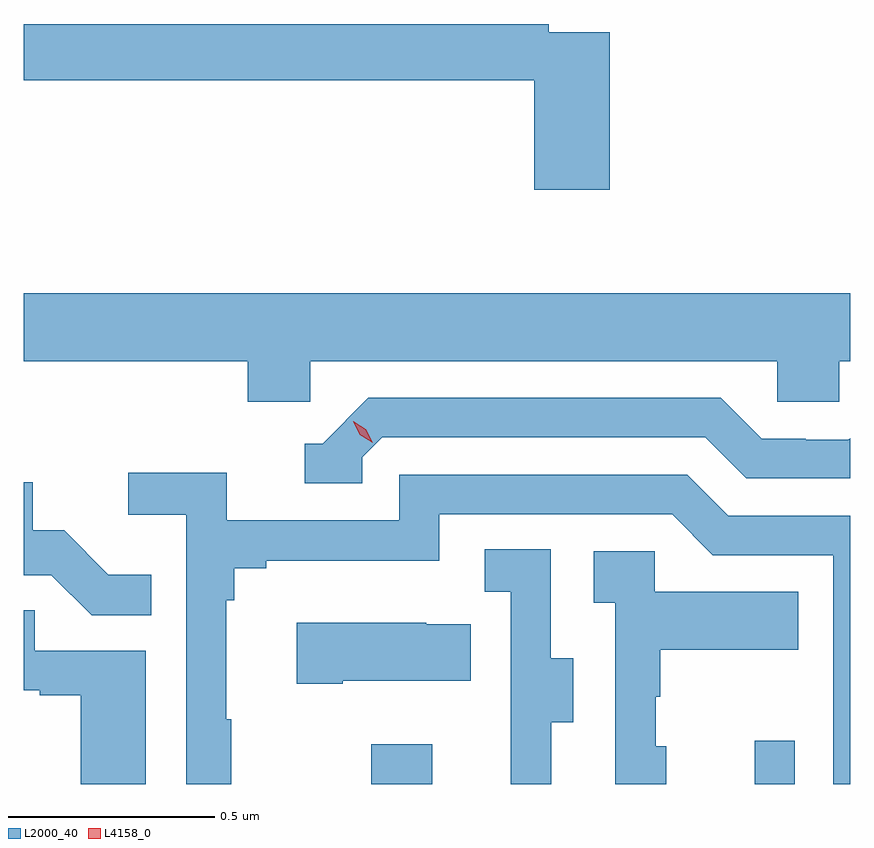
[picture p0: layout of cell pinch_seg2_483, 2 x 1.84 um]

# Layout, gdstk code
import gdstk
lib = gdstk.Library(unit=1e-6, precision=1e-09)
def R(c, l, rs):  # rectangles x0, y0, x1, y1
    for r in rs: c.add(gdstk.rectangle(r[:2], r[2:], *l))
def P(c, l, *ps):  # polygons
    for p in ps: c.add(gdstk.Polygon(p, *l))
L2000_40 = (2000, 40)
L4158_0 = (4158, 0)

pinch_seg2_483 = lib.new_cell('pinch_seg2_483')
R(pinch_seg2_483, L2000_40, [(921.958,593.332,922.105,593.428), (922.886,593.332,922.983,593.437)])
P(pinch_seg2_483, L2000_40, [(922.535,595.152),(922.388,595.152),(922.388,595.172),(921.117,595.172),(921.117,595.036),(922.352,595.036),(922.352,594.771),(922.535,594.771)],
  [(921.81,594.356),(922.941,594.356),(922.941,594.258),(923.091,594.258),(923.091,594.356),(923.117,594.356),(923.117,594.52),(921.117,594.52),(921.117,594.356),(921.659,594.356),(921.659,594.258),(921.81,594.258)],
  [(921.936,594.123),(921.984,594.171),(922.767,594.171),(922.866,594.072),(923.117,594.072),(923.117,594.169),(923.113,594.165),(923.01,594.165),(923.01,594.168),(922.903,594.168),(922.804,594.267),(921.951,594.267),(921.84,594.156),(921.797,594.156),(921.797,594.06),(921.936,594.06)],
  [(921.619,593.489),(921.607,593.489),(921.607,593.777),(921.626,593.777),(921.626,593.854),(921.703,593.854),(921.703,593.873),(922.122,593.873),(922.122,593.985),(922.686,593.985),(922.785,593.886),(923.076,593.886),(923.076,593.332),(923.117,593.332),(923.117,593.982),(922.822,593.982),(922.723,594.081),(922.026,594.081),(922.026,593.97),(921.608,593.97),(921.608,594.086),(921.369,594.086),(921.369,593.984),(921.51,593.984),(921.51,593.332),(921.619,593.332)],
  [(921.425,593.839),(921.321,593.839),(921.214,593.946),(921.138,593.946),(921.138,594.063),(921.117,594.063),(921.117,593.838),(921.183,593.838),(921.281,593.74),(921.425,593.74)],
  [(922.393,593.482),(922.447,593.482),(922.447,593.637),(922.392,593.637),(922.392,593.9),(922.233,593.9),(922.233,593.797),(922.296,593.797),(922.296,593.493),(922.295,593.493),(922.295,593.332),(922.393,593.332)],
  [(922.672,593.424),(922.647,593.424),(922.647,593.543),(922.657,593.543),(922.657,593.657),(922.991,593.657),(922.991,593.797),(922.644,593.797),(922.644,593.895),(922.497,593.895),(922.497,593.771),(922.548,593.771),(922.548,593.332),(922.672,593.332)],
  [(921.412,593.655),(921.143,593.655),(921.143,593.753),(921.117,593.753),(921.117,593.559),(921.155,593.559),(921.155,593.547),(921.254,593.547),(921.254,593.332),(921.412,593.332)],
  [(921.889,593.582),(922.199,593.582),(922.199,593.719),(922.091,593.719),(922.091,593.722),(921.777,593.722),(921.777,593.575),(921.889,593.575)])
P(pinch_seg2_483, L4158_0, [(921.961,594.158),(921.93,594.177),(921.914,594.21),(921.914,594.21),(921.914,594.21),(921.945,594.191),(921.961,594.158),(921.961,594.158)])

lib.write_gds('pinch_seg2_483.gds')
